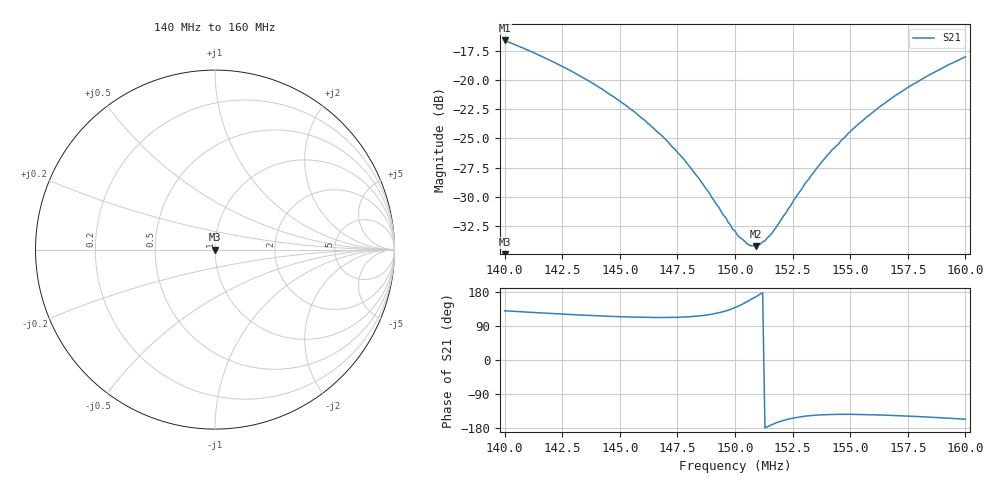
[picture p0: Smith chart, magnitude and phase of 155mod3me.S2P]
!Agilent Technologies,E5072A,MY51200456,A.01.14
!Date: Tue Nov 19 12:30:40 2019
!Data & Calibration Information:
!Freq	S11:NONE(--)	S21:NONE(--)	S12:NONE(--)	S22:NONE(--)
!PortZ  Port1:50+j0  Port2:50+j0
!Above PortZ is port z conversion or system Z0 setting when saving the data.
!When reading, reference impedance value at option line is always used.
# Hz S RI R 50
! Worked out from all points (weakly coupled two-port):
!   201 points, 140 MHz to 160 MHz, reference 50 ohm
!   highest |S21| = -16.61 dB at 140 MHz (marker M1); lowest = -34.2 dB at 150.9 MHz (marker M2)
!   lowest |S11| = - dB at 140 MHz (marker M3), VSWR 1.00, Z = 50 + j0 ohm
!   |S11| at or under -10 dB: start of sweep to end of sweep
!   S12 and S22 are empty: the file has one direction only
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1.4e8  0 0  -0.0946 0.1133  0 0  0 0
1.418e8  0 0  -0.0683 0.1031  0 0  0 0
1.434e8  0 0  -0.0487 0.0901  0 0  0 0
1.453e8  0 0  -0.031 0.0709  0 0  0 0
1.467e8  0 0  -0.0224 0.0549  0 0  0 0
1.478e8  0 0  -0.0182 0.0418  0 0  0 0
1.484e8  0 0  -0.0169 0.0344  0 0  0 0
1.499e8  0 0  -0.0165 0.016  0 0  0 0
1.5e8  0 0  -0.0168 0.0151  0 0  0 0
1.501e8  0 0  -0.0169 0.0137  0 0  0 0
1.505e8  0 0  -0.0179 0.00896  0 0  0 0
1.509e8  0 0  -0.0189 0.00451  0 0  0 0
1.513e8  0 0  -0.0205 -0.000289  0 0  0 0
1.516e8  0 0  -0.0218 -0.00361  0 0  0 0
1.53e8  0 0  -0.0303 -0.0186  0 0  0 0
1.534e8  0 0  -0.0333 -0.0222  0 0  0 0
1.542e8  0 0  -0.0405 -0.0295  0 0  0 0
1.549e8  0 0  -0.0472 -0.0353  0 0  0 0
1.557e8  0 0  -0.0559 -0.0407  0 0  0 0
1.567e8  0 0  -0.0679 -0.0462  0 0  0 0
1.584e8  0 0  -0.0913 -0.0514  0 0  0 0
1.6e8  0 0  -0.115 -0.0506  0 0  0 0
